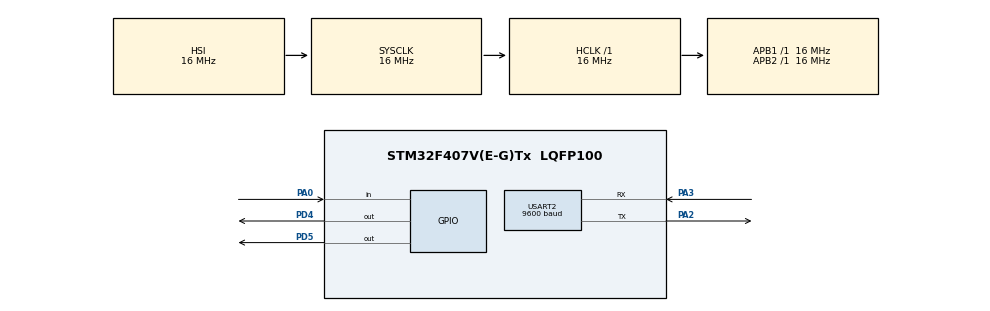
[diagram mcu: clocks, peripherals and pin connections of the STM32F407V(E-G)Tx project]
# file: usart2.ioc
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Mcu.Family=STM32F4
Mcu.Name=STM32F407V(E-G)Tx
Mcu.Package=LQFP100
NVIC.PriorityGroup=NVIC_PRIORITYGROUP_4
NVIC.USART2_IRQn=true\:0\:0\:false\:false\:true\:true
PA0-WKUP.Signal=GPIO_Input
PA2.Mode=Asynchronous
PA2.Signal=USART2_TX
PA3.Mode=Asynchronous
PA3.Signal=USART2_RX
PD4.Signal=GPIO_Output
PD5.Signal=GPIO_Output
ProjectManager.HeapSize=0x200
ProjectManager.StackSize=0x400
ProjectManager.TargetToolchain=MDK-ARM V5
RCC.AHBFreq_Value=16000000
RCC.APB1Freq_Value=16000000
RCC.APB2Freq_Value=16000000
RCC.CortexFreq_Value=16000000
RCC.HSE_VALUE=25000000
RCC.HSI_VALUE=16000000
RCC.LSE_VALUE=32768
RCC.SYSCLKFreq_VALUE=16000000
RCC.VCOOutputFreq_Value=192000000
USART2.BaudRate=9600
USART2.VirtualMode=VM_ASYNC
board=custom

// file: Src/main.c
/* USER CODE BEGIN Header */
/**
  ******************************************************************************
  * @file           : main.c
  * @brief          : Main program body
  ******************************************************************************
  ** This notice applies to any and all portions of this file
  * that are not between comment pairs USER CODE BEGIN and
  * USER CODE END. Other portions of this file, whether
  * inserted by the user or by software development tools
  * are owned by their respective copyright owners.
  *
  * COPYRIGHT(c) 2020 STMicroelectronics
  *
  * Redistribution and use in source and binary forms, with or without modification,
  * are permitted provided that the following conditions are met:
  *   1. Redistributions of source code must retain the above copyright notice,
  *      this list of conditions and the following disclaimer.
  *   2. Redistributions in binary form must reproduce the above copyright notice,
  *      this list of conditions and the following disclaimer in the documentation
  *      and/or other materials provided with the distribution.
  *   3. Neither the name of STMicroelectronics nor the names of its contributors
  *      may be used to endorse or promote products derived from this software
  *      without specific prior written permission.
  *
  * THIS SOFTWARE IS PROVIDED BY THE COPYRIGHT HOLDERS AND CONTRIBUTORS "AS IS"
  * AND ANY EXPRESS OR IMPLIED WARRANTIES, INCLUDING, BUT NOT LIMITED TO, THE
  * IMPLIED WARRANTIES OF MERCHANTABILITY AND FITNESS FOR A PARTICULAR PURPOSE ARE
  * DISCLAIMED. IN NO EVENT SHALL THE COPYRIGHT HOLDER OR CONTRIBUTORS BE LIABLE
  * FOR ANY DIRECT, INDIRECT, INCIDENTAL, SPECIAL, EXEMPLARY, OR CONSEQUENTIAL
  * DAMAGES (INCLUDING, BUT NOT LIMITED TO, PROCUREMENT OF SUBSTITUTE GOODS OR
  * SERVICES; LOSS OF USE, DATA, OR PROFITS; OR BUSINESS INTERRUPTION) HOWEVER
  * CAUSED AND ON ANY THEORY OF LIABILITY, WHETHER IN CONTRACT, STRICT LIABILITY,
  * OR TORT (INCLUDING NEGLIGENCE OR OTHERWISE) ARISING IN ANY WAY OUT OF THE USE
  * OF THIS SOFTWARE, EVEN IF ADVISED OF THE POSSIBILITY OF SUCH DAMAGE.
  *
  ******************************************************************************
  */
/* USER CODE END Header */

#include "main.h"

UART_HandleTypeDef huart2;

/* USER CODE BEGIN PV */

uint8_t getData[20];
uint8_t seriData[20];
uint8_t tData [] = "USART TEST\r\n";

/* USER CODE END PV */

void SystemClock_Config(void);
static void MX_GPIO_Init(void);
static void MX_USART2_UART_Init(void);

int main(void)
{

  /* MCU Configuration--------------------------------------------------------*/

  /* Reset of all peripherals, Initializes the Flash interface and the Systick. */
  HAL_Init();

  /* Configure the system clock */
  SystemClock_Config();

  /* Initialize all configured peripherals */
  MX_GPIO_Init();
  MX_USART2_UART_Init();
  /* USER CODE BEGIN 2 */
	__HAL_UART_ENABLE_IT(&huart2,UART_IT_RXNE);
  /* USER CODE END 2 */

  /* Infinite loop */
  /* USER CODE BEGIN WHILE */
  while (1)
  {

		HAL_UART_Transmit_IT(&huart2,(uint8_t*)&tData,12);
		HAL_Delay(500);

		int first,dataSize=20,start=1,second;
		for(int i=0;i<dataSize;i++){
			if(getData[i]=='/'){
				first =i;
			}
}
		for(int j=0;j<dataSize;j++){
			second=first+start+j;
			if(second>(dataSize-1)){
				second = second-dataSize;
			}
			seriData[j] = getData[second];

		}

    /* USER CODE END WHILE */

  }
}

void SystemClock_Config(void)
{
  RCC_OscInitTypeDef RCC_OscInitStruct = {0};
  RCC_ClkInitTypeDef RCC_ClkInitStruct = {0};

  /**Configure the main internal regulator output voltage
  */
  __HAL_RCC_PWR_CLK_ENABLE();
  __HAL_PWR_VOLTAGESCALING_CONFIG(PWR_REGULATOR_VOLTAGE_SCALE1);
  /**Initializes the CPU, AHB and APB busses clocks
  */
  RCC_OscInitStruct.OscillatorType = RCC_OSCILLATORTYPE_HSI;
  RCC_OscInitStruct.HSIState = RCC_HSI_ON;
  RCC_OscInitStruct.HSICalibrationValue = RCC_HSICALIBRATION_DEFAULT;
  RCC_OscInitStruct.PLL.PLLState = RCC_PLL_NONE;
  if (HAL_RCC_OscConfig(&RCC_OscInitStruct) != HAL_OK)
  {
    Error_Handler();
  }
  /**Initializes the CPU, AHB and APB busses clocks
  */
  RCC_ClkInitStruct.ClockType = RCC_CLOCKTYPE_HCLK|RCC_CLOCKTYPE_SYSCLK
                              |RCC_CLOCKTYPE_PCLK1|RCC_CLOCKTYPE_PCLK2;
  RCC_ClkInitStruct.SYSCLKSource = RCC_SYSCLKSOURCE_HSI;
  RCC_ClkInitStruct.AHBCLKDivider = RCC_SYSCLK_DIV1;
  RCC_ClkInitStruct.APB1CLKDivider = RCC_HCLK_DIV1;
  RCC_ClkInitStruct.APB2CLKDivider = RCC_HCLK_DIV1;

  if (HAL_RCC_ClockConfig(&RCC_ClkInitStruct, FLASH_LATENCY_0) != HAL_OK)
  {
    Error_Handler();
  }
}

static void MX_USART2_UART_Init(void)
{

  huart2.Instance = USART2;
  huart2.Init.BaudRate = 9600;
  huart2.Init.WordLength = UART_WORDLENGTH_8B;
  huart2.Init.StopBits = UART_STOPBITS_1;
  huart2.Init.Parity = UART_PARITY_NONE;
  huart2.Init.Mode = UART_MODE_TX_RX;
  huart2.Init.HwFlowCtl = UART_HWCONTROL_NONE;
  huart2.Init.OverSampling = UART_OVERSAMPLING_16;
  if (HAL_UART_Init(&huart2) != HAL_OK)
  {
    Error_Handler();
  }

}

static void MX_GPIO_Init(void)
{
  GPIO_InitTypeDef GPIO_InitStruct = {0};

  /* GPIO Ports Clock Enable */
  __HAL_RCC_GPIOA_CLK_ENABLE();
  __HAL_RCC_GPIOD_CLK_ENABLE();

  /*Configure GPIO pin Output Level */
  HAL_GPIO_WritePin(GPIOD, GPIO_PIN_4|GPIO_PIN_5, GPIO_PIN_RESET);

  /*Configure GPIO pin : PA0 */
  GPIO_InitStruct.Pin = GPIO_PIN_0;
  GPIO_InitStruct.Mode = GPIO_MODE_INPUT;
  GPIO_InitStruct.Pull = GPIO_NOPULL;
  HAL_GPIO_Init(GPIOA, &GPIO_InitStruct);

  /*Configure GPIO pins : PD4 PD5 */
  GPIO_InitStruct.Pin = GPIO_PIN_4|GPIO_PIN_5;
  GPIO_InitStruct.Mode = GPIO_MODE_OUTPUT_PP;
  GPIO_InitStruct.Pull = GPIO_NOPULL;
  GPIO_InitStruct.Speed = GPIO_SPEED_FREQ_LOW;
  HAL_GPIO_Init(GPIOD, &GPIO_InitStruct);

}

void Error_Handler(void)
{
}

/************************ (C) COPYRIGHT STMicroelectronics *****END OF FILE****/
